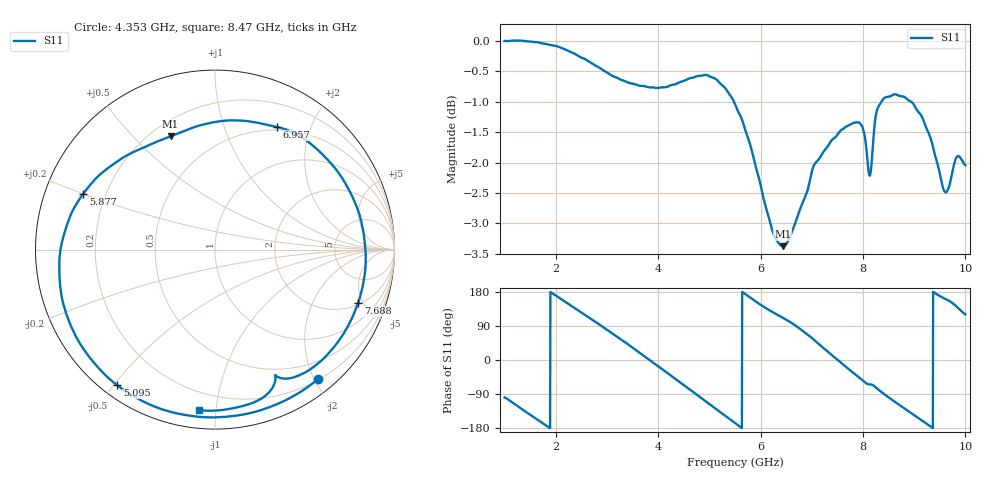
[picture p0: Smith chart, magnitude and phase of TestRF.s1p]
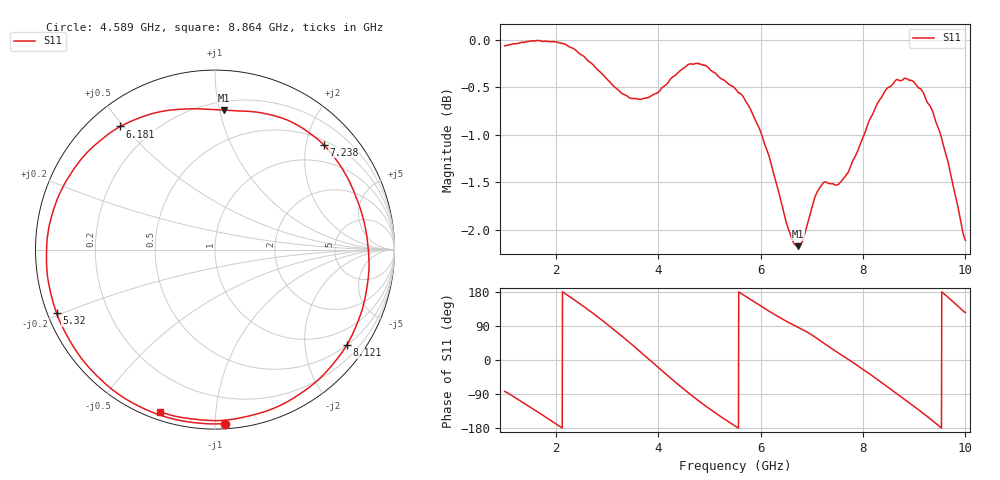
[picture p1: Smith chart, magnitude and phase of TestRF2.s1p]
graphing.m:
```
%% Not Powered
% NOTE: Averaging and smoothing used on VNA to reduce noise. Noise is 
% present because incident power is -60dBm so the amplifier operates
% in the proper setting. 

clear all
close all
clc

%load('DataFiles/unpoweredExtendedf.mat');
%S11_sim = data_analysis.dataBlocks.data.dependents(1,:);
%f_sim = data_analysis.dataBlocks.data.independent(1,:);
%S11_sim_dB = 20*log10(abs(S11_sim));

% Convert to Z Parameters
    % NOTE Z11 not acutally used b/c a better way to do this is to
    % just grab the data from the VNA in Smith format
    
%Z11_sim = 50.*(1+S11_sim)./(1-S11_sim);
%[Z11_meas, ~, ~, ~, S11_meas_dB, f_meas]= graphImpedance(data_VNA);
% As is done below

[data_VNA_11] = xlsread('DataFiles/feb5_stubcut.xlsx','1','A2:D1602');
S_11 = data_VNA_11(:,2) + 1i*data_VNA_11(:,3);
Z_11 = 50.*(1+S_11)./(1-S_11);
f_meas = data_VNA_11(:,1);

figure;
plot(f_meas,imag(Z_11),f_meas,real(Z_11))


%Setup touchsone file and write it
S50 = reshape(S_11,[1,1,1601]);
rfwrite(S50, f_meas, 'TestRF.s1p')
    
S = sparameters('TestRF.s1p');
S_11_smith = rfparam(S,1,1);
% S_ADS = sparameters('DataFiles/touchstone/unpowered_impedance_ADS.s1p');
% S_11_smith_ADS = rfparam(S_ADS,1,1);
figure;
s = smithplot(S_11_smith);
% add(s, S_11_smith_ADS);

%% Stub analysis

[data_VNA_11] = xlsread('DataFiles/feb5_2.xlsx','5','A2:D1602');
S_11 = data_VNA_11(:,2) + 1i*data_VNA_11(:,3);
Z_11 = 50.*(1+S_11)./(1-S_11);
figure;
plot(f_meas,imag(Z_11),f_meas,real(Z_11))

%Setup touchsone file and write it
S50 = reshape(S_11,[1,1,1601]);
rfwrite(S50, f_meas, 'TestRF2.s1p')
S = sparameters('TestRF2.s1p');
S_11_smith = rfparam(S,1,1);
figure;
s = smithplot(S_11_smith);

%%

[data_VNA_11] = xlsread('DataFiles/milledBoardCutStub.xlsx','1','A2:D1602');
S_11 = data_VNA_11(:,2) + 1i*data_VNA_11(:,3);
Z_11 = 50.*(1+S_11)./(1-S_11);
figure;
plot(f_meas,imag(Z_11),f_meas,real(Z_11))

%Setup touchsone file and write it
S50 = reshape(S_11,[1,1,1601]);
rfwrite(S50, f_meas, 'milledBoardCutStub.s1p')
S = sparameters('milledBoardCutStub.s1p');
S_11_smith = rfparam(S,1,1);
figure;
s = smithplot(S_11_smith);
%%

clear all
close all
clc

load('DataFiles/debug.mat');
S11_sim = debug_resonator_loading.dataBlocks.data.dependents(1,:);
f_sim = debug_resonator_loading.dataBlocks.data.independent(1,:);
S11_sim_dB = 20*log10(abs(S11_sim));
Z11_sim = 50.*(1+S11_sim)./(1-S11_sim);

plot(f_sim,real(Z11_sim),f_sim,imag(Z11_sim))

%% Input Impedance of Microstrip looking in no lumped elements no power
clc
%close all

clear all

[data_VNA_11] = xlsread('DataFiles/stub_removed_delay.xlsx','1','A2:C1602');
S_11 = data_VNA_11(:,2) + 1i*data_VNA_11(:,3);
Z_11 = 50.*(1+S_11)./(1-S_11);
f_meas = data_VNA_11(:,1);
%figure;
%plot(f_meas,imag(Z_11),f_meas,real(Z_11))

%Setup touchsone file and write it
S50 = reshape(S_11,[1,1,1601]);
rfwrite(S50, f_meas, 'stub_removed_delay.s1p')
S = sparameters('stub_removed_delay.s1p');
S_11_smith = rfparam(S,1,1);
figure;
s = smithplot(f_meas,S_11_smith);
S_hfss = sparameters('5p9G_rev2_CollectorStubWP_1port.s1p');
S_11_hfss = rfparam(S_hfss,1,1);
f_hfss = S_hfss.Frequencies;
%s = smithplot(f_hfss,S_11_hfss);
add(s, f_hfss,S_11_hfss);


%%
clear all 
clc


[data_VNA_11] = xlsread('DataFiles/collector_through.xlsx','1','A2:C1602');
[data_VNA_12] = xlsread('DataFiles/collector_through.xlsx','6','A2:C1602');
[data_VNA_21] = xlsread('DataFiles/collector_through.xlsx','3','A2:C1602');
[data_VNA_22] = xlsread('DataFiles/collector_through.xlsx','5','A2:C1602');
f_meas = data_VNA_11(:,1);

S_11 = data_VNA_11(:,2) + 1i*data_VNA_11(:,3);
S_12 = data_VNA_12(:,2) + 1i*data_VNA_11(:,3);
S_21 = data_VNA_21(:,2) + 1i*data_VNA_11(:,3);
S_22 = data_VNA_22(:,2) + 1i*data_VNA_11(:,3);
S11_50 = reshape(S_11,[1,1,1601]);
S12_50 = reshape(S_12,[1,1,1601]);
S21_50 = reshape(S_21,[1,1,1601]);
S22_50 = reshape(S_22,[1,1,1601]);
SParameter3Ddata = [S11_50 S12_50; S21_50 S22_50];

%figure;
%s = smithplot(f_meas,S_11);

rfwrite(SParameter3Ddata, f_meas, 'collector_measured_forADS.s2p')

%load('DataFiles/collector_through.mat');
%S11_sim = collector_debug.dataBlocks.data.dependents(1,:)';
%f_sim = collector_debug.dataBlocks.data.independent(1,:)';
%S11_sim_dB = 20*log10(abs(S11_sim));


%Setup touchsone file and write it

%S = sparameters('collector_through.s2p');
%S_11_smith = rfparam(S,1,1);

%add(s, f_sim,S_11_smith);

%% Unit 3 detailed analysis and compare to simulation...

clear all
clc

[VNA_unit3_unpowered] = xlsread('DataFiles/debug_resistor.xlsx','444','A2:C1602');
f_meas = VNA_unit3_unpowered(:,1);
S_11 = VNA_unit3_unpowered(:,2) + 1i*VNA_unit3_unpowered(:,3);
Z_11 = 50.*(1+S_11)./(1-S_11);
figure;
plot(f_meas,imag(Z_11),f_meas,real(Z_11))

[VNA_unit3_Vb0p75] = xlsread('DataFiles/debug_resistor.xlsx','2','A2:D1602');
f_meas = VNA_unit3_Vb0p75(:,1);
S_11 = VNA_unit3_Vb0p75(:,2) + 1i*VNA_unit3_Vb0p75(:,3);
Z_11 = 50.*(1+S_11)./(1-S_11);
figure;
plot(f_meas,imag(Z_11),f_meas,real(Z_11))
hold on
[VNA_unit3_Vb0p76] = xlsread('DataFiles/debug_resistor.xlsx','3','A2:D1602');
f_meas = VNA_unit3_Vb0p76(:,1);
S_11 = VNA_unit3_Vb0p76(:,2) + 1i*VNA_unit3_Vb0p76(:,3);
Z_11 = 50.*(1+S_11)./(1-S_11);
plot(f_meas,imag(Z_11),f_meas,real(Z_11))
[VNA_unit3_Vb0p77] = xlsread('DataFiles/debug_resistor.xlsx','4','A2:D1602');
f_meas = VNA_unit3_Vb0p77(:,1);
S_11 = VNA_unit3_Vb0p77(:,2) + 1i*VNA_unit3_Vb0p77(:,3);
Z_11 = 50.*(1+S_11)./(1-S_11);
plot(f_meas,imag(Z_11),f_meas,real(Z_11))
[VNA_unit3_Vb0p78] = xlsread('DataFiles/debug_resistor.xlsx','5','A2:D1602');
f_meas = VNA_unit3_Vb0p78(:,1);
S_11 = VNA_unit3_Vb0p78(:,2) + 1i*VNA_unit3_Vb0p78(:,3);
Z_11 = 50.*(1+S_11)./(1-S_11);
plot(f_meas,imag(Z_11),f_meas,real(Z_11))
[VNA_unit3_Vb0p79] = xlsread('DataFiles/debug_resistor.xlsx','6','A2:D1602');
f_meas = VNA_unit3_Vb0p79(:,1);
S_11 = VNA_unit3_Vb0p79(:,2) + 1i*VNA_unit3_Vb0p79(:,3);
Z_11 = 50.*(1+S_11)./(1-S_11);
plot(f_meas,imag(Z_11),f_meas,real(Z_11))
[VNA_unit3_Vb0p80] = xlsread('DataFiles/debug_resistor.xlsx','7','A2:D1602');
f_meas = VNA_unit3_Vb0p80(:,1);
S_11 = VNA_unit3_Vb0p80(:,2) + 1i*VNA_unit3_Vb0p80(:,3);
Z_11 = 50.*(1+S_11)./(1-S_11);
plot(f_meas,imag(Z_11),f_meas,real(Z_11))
[VNA_unit3_Vb0p81] = xlsread('DataFiles/debug_resistor.xlsx','8','A2:D1602');
f_meas = VNA_unit3_Vb0p81(:,1);
S_11 = VNA_unit3_Vb0p81(:,2) + 1i*VNA_unit3_Vb0p81(:,3);
Z_11 = 50.*(1+S_11)./(1-S_11);
plot(f_meas,imag(Z_11),f_meas,real(Z_11))

hold off
%% Input Impedance of Microstrip looking in no power with connector in sim
clc
%close all

clear all

[data_VNA_11] = xlsread('DataFiles/debug_resistor.xlsx','1','A2:C1602');
S_11 = data_VNA_11(:,2) + 1i*data_VNA_11(:,3);
Z_11 = 50.*(1+S_11)./(1-S_11);
f_meas = data_VNA_11(:,1);
%figure;
%plot(f_meas,imag(Z_11),f_meas,real(Z_11))

%Setup touchsone file and write it
S50 = reshape(S_11,[1,1,1601]);
rfwrite(S50, f_meas, 'nopower.s1p')
S = sparameters('nopower.s1p');
S_11_smith = rfparam(S,1,1);
figure;
s = smithplot(f_meas,S_11_smith);
S_ads = sparameters('DataFiles/unpowered_with_connector.s1p');
S_11_ads = rfparam(S_ads,1,1);
f_ads = S_ads.Frequencies;

add(s, f_ads,S_11_ads);
```
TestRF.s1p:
# GHz S MA R 50
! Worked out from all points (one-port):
!   1601 points, 1 GHz to 10 GHz, reference 50 ohm
!   lowest |S11| = -3.4 dB at 6.434 GHz (marker M1), VSWR 5.21, Z = 13.8 + j32.3 ohm
!   |S11| at or under -10 dB: nowhere
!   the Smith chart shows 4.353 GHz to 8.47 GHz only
!   S11 on the Smith chart (normalised r, x): 4.353 GHz: 0.21, -2.06; 5.095 GHz: 0.04, -0.51; 5.877 GHz: 0.12, +0.20; 6.957 GHz: 0.46, +1.53; 7.688 GHz: 2.13, -4.59; 8.47 GHz: 0.10, -0.90
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1  0.9999 -98.8
1.8775  0.9926 -179.0
2.76625  0.9545 101.4
4.00375  0.9147 -17.0
4.3525  0.9219 -51.5
5.095  0.9317 -125.8
5.876875  0.797 157.0
6.43375  0.678 111.4
6.956875  0.7657 63.2
7.001875  0.7811 58.0
7.688125  0.8511 -20.5
8.47  0.8991 -95.7
9.184375  0.8595 -162.9
10  0.7903 120.6
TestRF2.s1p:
# GHz S MA R 50
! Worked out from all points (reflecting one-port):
!   1601 points, 1 GHz to 10 GHz, reference 50 ohm
!   lowest |S11| = -2.2 dB at 6.732 GHz (marker M1), VSWR 8.04, Z = 13 + j51.5 ohm
!   phase of S11 starts at -83 deg and turns -872 deg over the sweep
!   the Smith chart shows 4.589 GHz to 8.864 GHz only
!   S11 on the Smith chart (normalised r, x): 4.589 GHz: 0.03, -1.06; 5.32 GHz: 0.03, -0.19; 6.181 GHz: 0.09, +0.49; 7.238 GHz: 0.59, +2.35; 8.121 GHz: 0.50, -3.00; 8.864 GHz: 0.04, -0.72
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1  0.9929 -83.0
2.06875  0.9967 -174.4
2.9575  0.9561 99.3
4.00375  0.9388 -20.1
4.58875  0.9707 -86.6
5.32  0.9508 -158.2
6.180625  0.8657 127.6
6.731875  0.7788 86.4
7.001875  0.8159 66.0
7.238125  0.8417 44.0
8.12125  0.9068 -36.0
8.86375  0.9538 -108.8
9.454375  0.901 -170.8
10  0.7844 125.0
